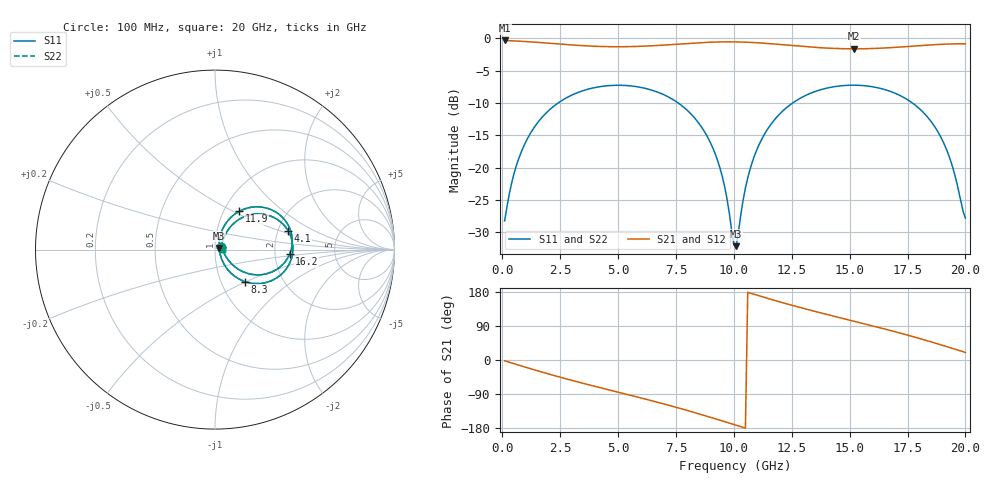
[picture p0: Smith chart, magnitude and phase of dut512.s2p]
! Touchstone file exported from HFSS 2026.1.0
!  File:  C:/ffzhzh/LocalFiles/Ansys_Project_Files/temp_train_TSV_RDL_512_1783108992_37876.aedt
!  Generated:  04:21:03 AM Jul  4, 2026
!  Design:  TSV_RDL
!  Project:  temp_train_TSV_RDL_512_1783108992_37876
! Variables:
!  h_bsmrdl = 3.93um
!  h_ox = 20um
!  h_rdl = 5um
!  h_sub = 89.47um
!  h_tmrdl = 2.62um
!  h_tsv = 89.47um
!  h_via = 3um
!  l_bsmrdl = 449.15um
!  l_sub = 5592.03um
!  l_tmrdl = 928.43um
!  m_sub = 200um
!  pitch = 36.56um
!  r_tsv = 5.4um
!  s_tmrdl = 10um
!  w_bsmrdl = 25.69um
!  w_sub = 500um
!  w_tmrdl = 17.93um
!  x_tsv_center1 = 937.395um
!  x_tsv_center2 = 1412.235um
!  x_tsv_center3 = 2358.595um
!  x_tsv_center4 = 2833.435um
!  x_tsv_center5 = 3779.795um
!  x_tsv_center6 = 4254.635um
# GHz S MA R 50.000000
! Terminal data exported
! Port[1] = TM_RDL1_1_T1
! Port[2] = TM_RDL5_1_T1
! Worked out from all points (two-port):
!   200 points, 100 MHz to 20 GHz, reference 50 ohm
!   highest |S21| = -0.31 dB at 100 MHz (marker M1); lowest = -1.6 dB at 15.2 GHz (marker M2)
!   |S21| within 3 dB of the highest: start of sweep to end of sweep
!   lowest |S11| = -32.1 dB at 10.1 GHz (marker M3), VSWR 1.05, Z = 52.4 + j0.891 ohm
!   |S11| at or under -10 dB: start of sweep to 2.401 GHz; 7.606 GHz to 12.53 GHz (4.924 GHz wide, 48.9 % of centre); 17.72 GHz to end of sweep
!   |S22| runs from -32.0 to -7.2 dB; largest |S21 - S12| = 1.9e-14
!   S11 on the Smith chart (normalised r, x): 100 MHz: 1.07, +0.03; 4.1 GHz: 2.27, +0.58; 8.3 GHz: 1.29, -0.49; 11.9 GHz: 1.18, +0.54; 16.2 GHz: 2.41, -0.16; 20 GHz: 1.08, +0.01
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0.1  0.03888 24.5  0.9651 -2.0  0.9651 -2.0  0.03888 24.5
! Gamma 0 0 0 0
! Port Impedance 50 0 50 0
0.6  0.1029 55.5  0.9555 -11.6  0.9555 -11.6  0.1029 55.5
1.2  0.1828 54.1  0.9419 -22.7  0.9419 -22.7  0.1828 54.1
2.2  0.2971 41.9  0.9136 -40.3  0.9136 -40.3  0.2971 41.9
3.5  0.3954 23.2  0.8792 -61.7  0.8792 -61.7  0.3954 23.2
4.1  0.4204 14.6  0.8689 -71.1  0.8689 -71.1  0.4204 14.6
6.8  0.379 -24.4  0.8849 -113.1  0.8849 -113.1  0.379 -24.4
8.3  0.2434 -47.0  0.9222 -138.7  0.9222 -138.7  0.2434 -46.9
9.3  0.1136 -58.2  0.9394 -157.0  0.9394 -157.0  0.1137 -58.0
9.7  0.0581 -53.3  0.9416 -164.5  0.9416 -164.5  0.05827 -52.9
10  0.02538 -12.6  0.9411 -170.2  0.9411 -170.2  0.02579 -12.2
10.1  0.02477 20.1  0.9405 -172.1  0.9405 -172.1  0.0252 19.8
10.5  0.06975 67.7  0.9362 -179.6  0.9362 -179.6  0.06992 67.4
10.8  0.1114 70.0  0.931 174.8  0.931 174.8  0.1115 69.7
11.9  0.2518 57.8  0.9013 154.9  0.9013 154.9  0.2519 57.7
13.4  0.3824 35.8  0.8558 129.8  0.8558 129.8  0.3825 35.7
15.2  0.4351 10.3  0.8315 102.1  0.8315 102.1  0.4352 10.3
16.2  0.4162 -3.7  0.8387 86.8  0.8387 86.8  0.4162 -3.7
16.7  0.3931 -10.7  0.8474 78.9  0.8474 78.9  0.3931 -10.8
18.8  0.1915 -38.8  0.8983 42.7  0.8983 42.7  0.1915 -38.8
19.4  0.108 -39.8  0.9072 31.4  0.9072 31.4  0.108 -39.9
20  0.04081 8.2  0.9089 19.9  0.9089 19.9  0.04066 8.2
